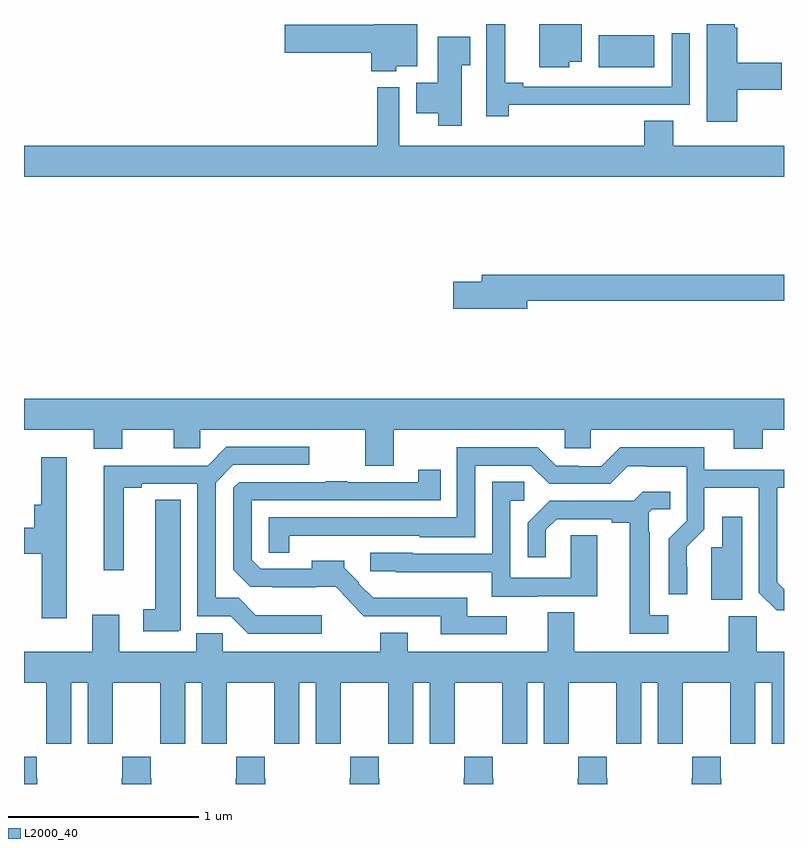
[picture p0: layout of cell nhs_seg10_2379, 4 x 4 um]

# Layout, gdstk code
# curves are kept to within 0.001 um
import gdstk
lib = gdstk.Library(unit=1e-6, precision=1e-09)
def R(c, l, rs):  # rectangles x0, y0, x1, y1
    for r in rs: c.add(gdstk.rectangle(r[:2], r[2:], *l))
def P(c, l, *ps):  # polygons
    for p in ps: c.add(gdstk.Polygon(p, *l))
L2000_40 = (2000, 40)

nhs_seg10_2379 = lib.new_cell('nhs_seg10_2379')
R(nhs_seg10_2379, L2000_40, [(242.024,1254.272,242.317,1254.442)])
P(nhs_seg10_2379, L2000_40, [(240.96,1254.278),(241.069,1254.278),(241.069,1254.5),(240.843,1254.5),(240.843,1254.497),(240.372,1254.497),(240.372,1254.35),(240.827,1254.35),(240.827,1254.251),(240.96,1254.251)],
  [(242.753,1254.154),(242.989,1254.154),(242.989,1254.296),(242.753,1254.296),(242.753,1254.479),(242.74,1254.479),(242.74,1254.5),(242.594,1254.5),(242.594,1253.985),(242.753,1253.985)],
  [(241.87,1254.302),(241.936,1254.302),(241.936,1254.5),(241.712,1254.5),(241.712,1254.272),(241.87,1254.272)],
  [(241.55,1254.074),(242.18,1254.074),(242.18,1254.075),(242.505,1254.075),(242.505,1254.451),(242.409,1254.451),(242.409,1254.171),(241.627,1254.171),(241.627,1254.191),(241.532,1254.191),(241.532,1254.5),(241.434,1254.5),(241.434,1254.015),(241.55,1254.015)],
  [(241.303,1254.283),(241.349,1254.283),(241.349,1254.434),(241.178,1254.434),(241.178,1254.19),(241.064,1254.19),(241.064,1254.029),(241.181,1254.029),(241.181,1253.964),(241.303,1253.964)],
  [(243,1253.86),(242.416,1253.86),(242.416,1253.99),(242.264,1253.99),(242.264,1253.86),(240.975,1253.86),(240.975,1254.166),(240.859,1254.166),(240.859,1253.86),(239,1253.86),(239,1253.696),(243,1253.696)],
  [(241.648,1253.044),(243,1253.044),(243,1253.18),(241.409,1253.18),(241.409,1253.144),(241.26,1253.144),(241.26,1253.002),(241.648,1253.002)],
  [(240.945,1252.364),(241.845,1252.364),(241.845,1252.266),(241.983,1252.266),(241.983,1252.364),(242.735,1252.364),(242.735,1252.265),(242.888,1252.265),(242.888,1252.364),(243,1252.364),(243,1252.528),(239,1252.528),(239,1252.364),(239.366,1252.364),(239.366,1252.265),(239.518,1252.265),(239.518,1252.364),(239.789,1252.364),(239.789,1252.266),(239.928,1252.266),(239.928,1252.364),(240.797,1252.364),(240.797,1252.174),(240.945,1252.174)],
  [(240.568,1251.388),(240.221,1251.388),(240.13,1251.479),(240.009,1251.479),(240.009,1252.086),(240.102,1252.179),(240.502,1252.179),(240.502,1252.275),(240.065,1252.275),(239.966,1252.176),(239.42,1252.176),(239.42,1251.624),(239.524,1251.624),(239.524,1252.06),(239.62,1252.06),(239.62,1252.08),(239.913,1252.08),(239.913,1251.384),(240.087,1251.384),(240.18,1251.291),(240.568,1251.291)],
  [(243,1251.525),(242.964,1251.561),(242.964,1252.059),(243,1252.059),(243,1252.155),(242.581,1252.155),(242.581,1252.273),(242.137,1252.273),(242.037,1252.173),(241.92,1252.173),(241.92,1252.176),(241.8,1252.176),(241.704,1252.272),(241.278,1252.272),(241.278,1251.903),(240.288,1251.903),(240.288,1251.718),(240.397,1251.718),(240.397,1251.806),(241.083,1251.807),(241.083,1251.8),(241.374,1251.8),(241.374,1252.176),(241.668,1252.176),(241.764,1252.08),(242.085,1252.08),(242.178,1252.173),(242.278,1252.173),(242.278,1252.169),(242.487,1252.169),(242.487,1251.885),(242.394,1251.792),(242.394,1251.498),(242.49,1251.498),(242.489,1251.75),(242.58,1251.842),(242.58,1252.058),(242.868,1252.058),(242.868,1251.507),(242.961,1251.415),(243,1251.415)],
  [(239.224,1252.219),(239.09,1252.219),(239.09,1251.97),(239.054,1251.97),(239.054,1251.848),(239,1251.848),(239,1251.712),(239.093,1251.712),(239.093,1251.372),(239.224,1251.372)],
  [(241.54,1251.384),(241.333,1251.384),(241.333,1251.481),(240.94,1251.481),(240.94,1251.479),(240.839,1251.479),(240.762,1251.555),(240.765,1251.558),(240.686,1251.637),(240.686,1251.676),(240.515,1251.676),(240.515,1251.633),(240.246,1251.633),(240.198,1251.681),(240.198,1251.993),(241.193,1251.993),(241.193,1252.153),(241.075,1252.153),(241.075,1252.089),(240.701,1252.089),(240.701,1252.094),(240.589,1252.094),(240.589,1252.089),(240.132,1252.089),(240.102,1252.059),(240.102,1251.627),(240.191,1251.538),(240.307,1251.538),(240.307,1251.536),(240.641,1251.537),(240.715,1251.463),(240.713,1251.461),(240.789,1251.384),(241.193,1251.384),(241.193,1251.288),(241.54,1251.288)],
  [(241.699,1251.489),(242.017,1251.489),(242.017,1251.809),(241.878,1251.809),(241.878,1251.585),(241.56,1251.585),(241.56,1251.99),(241.633,1251.99),(241.633,1252.091),(241.464,1252.091),(241.464,1251.711),(241.047,1251.711),(241.047,1251.717),(240.822,1251.717),(240.822,1251.621),(240.957,1251.621),(240.957,1251.614),(241.463,1251.614),(241.463,1251.485),(241.699,1251.485)],
  [(242.392,1251.387),(242.293,1251.387),(242.293,1251.827),(242.289,1251.827),(242.289,1251.927),(242.307,1251.945),(242.402,1251.945),(242.402,1252.037),(242.256,1252.037),(242.208,1251.99),(241.766,1251.99),(241.65,1251.874),(241.65,1251.693),(241.747,1251.693),(241.747,1251.837),(241.804,1251.894),(242.093,1251.894),(242.093,1251.874),(242.189,1251.874),(242.189,1251.291),(242.392,1251.291)],
  [(239.824,1251.313),(239.824,1251.995),(239.69,1251.995),(239.69,1251.419),(239.628,1251.419),(239.628,1251.303),(239.814,1251.303)],
  [(242.779,1251.907),(242.675,1251.907),(242.675,1251.747),(242.618,1251.747),(242.618,1251.469),(242.779,1251.469)],
  [(239.248,1251.032),(239.336,1251.032),(239.336,1250.712),(239.466,1250.712),(239.466,1250.824),(239.467,1250.824),(239.467,1251.032),(239.717,1251.032),(239.717,1250.824),(239.718,1250.824),(239.718,1250.712),(239.848,1250.712),(239.848,1251.032),(239.936,1251.032),(239.936,1250.712),(240.066,1250.712),(240.066,1250.824),(240.067,1250.824),(240.067,1251.032),(240.317,1251.032),(240.317,1250.824),(240.318,1250.824),(240.318,1250.712),(240.448,1250.712),(240.448,1251.032),(240.536,1251.032),(240.536,1250.712),(240.666,1250.712),(240.666,1250.824),(240.667,1250.824),(240.667,1251.032),(240.917,1251.032),(240.917,1250.824),(240.918,1250.824),(240.918,1250.712),(241.048,1250.712),(241.048,1251.032),(241.136,1251.032),(241.136,1250.712),(241.266,1250.712),(241.266,1250.824),(241.267,1250.824),(241.267,1251.032),(241.517,1251.032),(241.517,1250.824),(241.518,1250.824),(241.518,1250.712),(241.648,1250.712),(241.648,1251.032),(241.736,1251.032),(241.736,1250.712),(241.866,1250.712),(241.866,1250.824),(241.867,1250.824),(241.867,1251.032),(242.117,1251.032),(242.117,1250.824),(242.118,1250.824),(242.118,1250.712),(242.248,1250.712),(242.248,1251.032),(242.336,1251.032),(242.336,1250.712),(242.466,1250.712),(242.466,1250.824),(242.467,1250.824),(242.467,1251.032),(242.717,1251.032),(242.717,1250.824),(242.718,1250.824),(242.718,1250.712),(242.848,1250.712),(242.848,1251.032),(242.936,1251.032),(242.936,1250.712),(243,1250.712),(243,1251.196),(242.856,1251.196),(242.856,1251.384),(242.71,1251.384),(242.71,1251.196),(241.897,1251.196),(241.897,1251.404),(241.757,1251.404),(241.757,1251.196),(241.021,1251.196),(241.021,1251.295),(240.874,1251.295),(240.874,1251.196),(240.045,1251.196),(240.045,1251.294),(239.906,1251.294),(239.906,1251.196),(239.5,1251.196),(239.5,1251.391),(239.36,1251.391),(239.36,1251.196),(239,1251.196),(239,1251.032),(239.117,1251.032),(239.117,1250.824),(239.118,1250.824),(239.118,1250.712),(239.248,1250.712)],
  [(239.67,1250.531),(239.667,1250.531),(239.667,1250.644),(239.517,1250.644),(239.517,1250.531),(239.515,1250.531),(239.515,1250.5),(239.67,1250.5)],
  [(240.27,1250.531),(240.267,1250.531),(240.267,1250.644),(240.117,1250.644),(240.117,1250.531),(240.115,1250.531),(240.115,1250.5),(240.27,1250.5)],
  [(240.87,1250.531),(240.867,1250.531),(240.867,1250.644),(240.717,1250.644),(240.717,1250.531),(240.715,1250.531),(240.715,1250.5),(240.87,1250.5)],
  [(241.47,1250.531),(241.467,1250.531),(241.467,1250.644),(241.317,1250.644),(241.317,1250.531),(241.315,1250.531),(241.315,1250.5),(241.47,1250.5)],
  [(242.07,1250.531),(242.067,1250.531),(242.067,1250.644),(241.917,1250.644),(241.917,1250.531),(241.915,1250.531),(241.915,1250.5),(242.07,1250.5)],
  [(242.67,1250.531),(242.667,1250.531),(242.667,1250.644),(242.517,1250.644),(242.517,1250.531),(242.515,1250.531),(242.515,1250.5),(242.67,1250.5)],
  [(239.07,1250.531),(239.067,1250.531),(239.067,1250.644),(239,1250.644),(239,1250.5),(239.07,1250.5)])

lib.write_gds('nhs_seg10_2379.gds')
